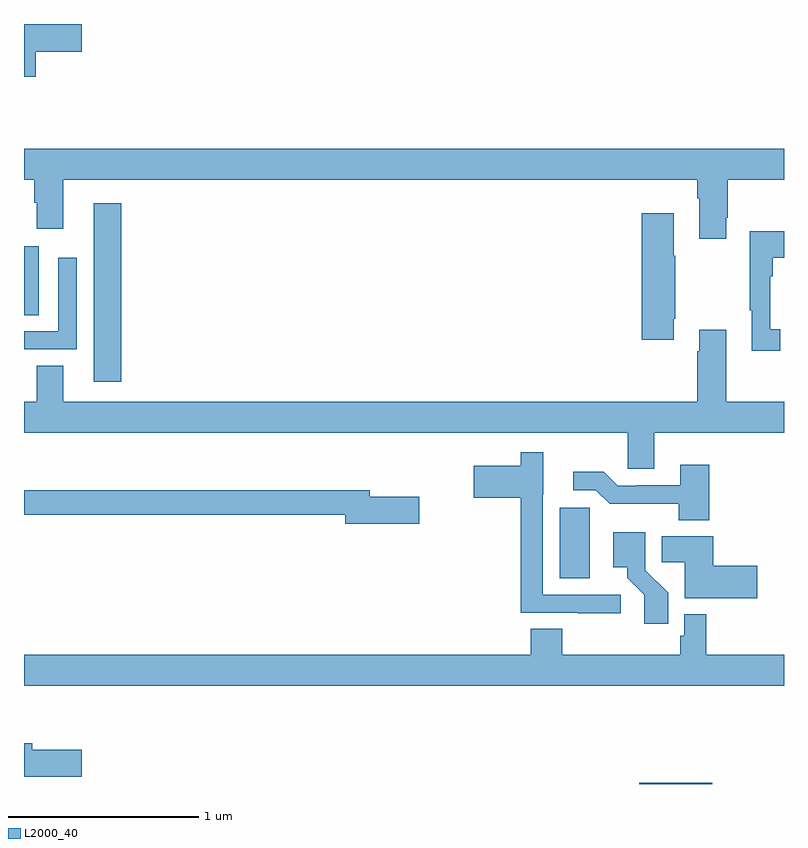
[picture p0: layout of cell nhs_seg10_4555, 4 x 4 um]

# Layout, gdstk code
import gdstk
lib = gdstk.Library(unit=1e-6, precision=1e-09)
def R(c, l, rs):  # rectangles x0, y0, x1, y1
    for r in rs: c.add(gdstk.rectangle(r[:2], r[2:], *l))
def P(c, l, *ps):  # polygons
    for p in ps: c.add(gdstk.Polygon(p, *l))
L2000_40 = (2000, 40)

nhs_seg10_4555 = lib.new_cell('nhs_seg10_4555')
R(nhs_seg10_4555, L2000_40, [(374.238,1266.5,374.622,1266.506), (373.82,1267.582,373.978,1267.953), (371.366,1268.616,371.513,1269.556), (371,1268.968,371.077,1269.331)])
P(nhs_seg10_4555, L2000_40, [(371.062,1270.355),(371.305,1270.355),(371.305,1270.5),(371,1270.5),(371,1270.223),(371.062,1270.223)],
  [(374.695,1269.481),(374.703,1269.481),(374.703,1269.68),(375,1269.68),(375,1269.844),(371,1269.844),(371,1269.68),(371.054,1269.68),(371.054,1269.56),(371.066,1269.56),(371.066,1269.423),(371.206,1269.423),(371.206,1269.68),(374.543,1269.68),(374.543,1269.584),(374.555,1269.584),(374.555,1269.369),(374.695,1269.369)],
  [(374.419,1268.95),(374.427,1268.95),(374.427,1269.281),(374.419,1269.281),(374.419,1269.505),(374.252,1269.505),(374.252,1268.838),(374.419,1268.838)],
  [(374.98,1268.894),(374.928,1268.894),(374.928,1269.173),(374.941,1269.173),(374.941,1269.269),(375,1269.269),(375,1269.409),(374.82,1269.409),(374.82,1268.993),(374.831,1268.993),(374.831,1268.781),(374.98,1268.781)],
  [(371.277,1269.271),(371.181,1269.271),(371.181,1268.883),(371,1268.883),(371,1268.787),(371.277,1268.787)],
  [(374.317,1268.348),(375,1268.348),(375,1268.512),(374.695,1268.512),(374.695,1268.89),(374.555,1268.89),(374.555,1268.777),(374.543,1268.777),(374.543,1268.512),(371.206,1268.512),(371.206,1268.702),(371.066,1268.702),(371.066,1268.512),(371,1268.512),(371,1268.348),(374.178,1268.348),(374.178,1268.158),(374.317,1268.158)],
  [(374.14,1267.497),(373.731,1267.497),(373.731,1268.022),(373.732,1268.022),(373.732,1268.245),(373.615,1268.245),(373.615,1268.176),(373.368,1268.176),(373.368,1268.006),(373.615,1268.006),(373.615,1267.401),(373.915,1267.401),(373.915,1267.399),(374.14,1267.399)],
  [(374.606,1268.179),(374.453,1268.179),(374.453,1268.073),(374.224,1268.073),(374.224,1268.07),(374.124,1268.07),(374.051,1268.143),(373.89,1268.143),(373.89,1268.046),(374.01,1268.046),(374.083,1267.974),(374.446,1267.974),(374.446,1267.889),(374.606,1267.889)],
  [(373.081,1268.013),(372.82,1268.013),(372.82,1268.047),(371,1268.047),(371,1267.918),(372.692,1267.918),(372.692,1267.871),(373.081,1267.871)],
  [(374.39,1267.506),(374.271,1267.625),(374.271,1267.776),(374.269,1267.776),(374.269,1267.825),(374.102,1267.825),(374.102,1267.64),(374.174,1267.64),(374.174,1267.585),(374.265,1267.495),(374.265,1267.344),(374.39,1267.344)],
  [(374.86,1267.649),(374.627,1267.649),(374.627,1267.804),(374.356,1267.804),(374.356,1267.666),(374.477,1267.666),(374.477,1267.478),(374.86,1267.478)],
  [(375,1267.18),(374.591,1267.18),(374.591,1267.393),(374.475,1267.393),(374.475,1267.281),(374.455,1267.281),(374.455,1267.18),(373.832,1267.18),(373.832,1267.316),(373.667,1267.316),(373.667,1267.18),(371,1267.18),(371,1267.016),(375,1267.016)],
  [(371.305,1266.681),(371.044,1266.681),(371.044,1266.715),(371,1266.715),(371,1266.539),(371.305,1266.539)])

lib.write_gds('nhs_seg10_4555.gds')
